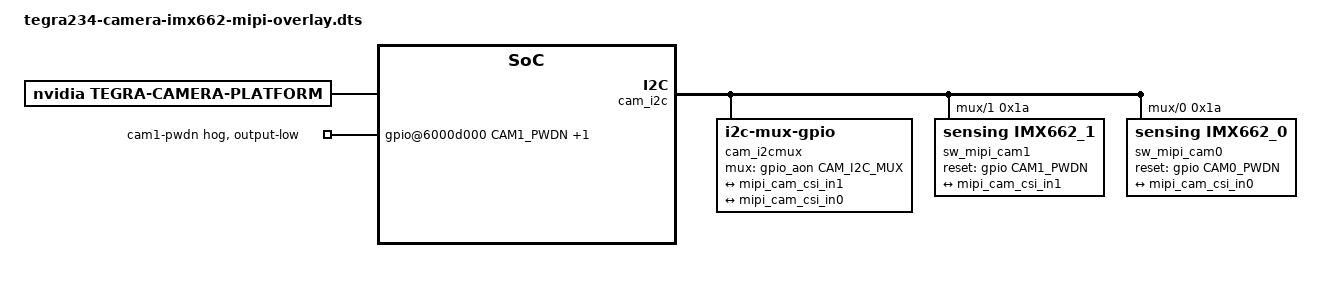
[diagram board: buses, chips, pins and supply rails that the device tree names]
// SPDX-License-Identifier: GPL-2.0-only
// SPDX-FileCopyrightText: Copyright (c) 2023-2024, NVIDIA CORPORATION & AFFILIATES. All rights reserved.

/dts-v1/;
/plugin/;

#define CAM0_PWDN	TEGRA234_MAIN_GPIO(H, 6)
#define CAM1_PWDN	TEGRA234_MAIN_GPIO(AC, 0)
#define CAM_I2C_MUX 	TEGRA234_AON_GPIO(CC, 3)

#include <dt-bindings/tegra234-p3767-0000-common.h>

/ {
	overlay-name = "Camera SG2-MIPI-IMX662";
	jetson-header-name = "Jetson 24pin CSI Connector";
	compatible = JETSON_COMPATIBLE_P3768;
	/* SG2-MIPI-IMX662 connected to cam1 port */

	fragment@0 {
		target-path = "/";
		__overlay__ {
			tegra-capture-vi  {
				num-channels = <2>;
				ports {
					#address-cells = <1>;
					#size-cells = <0>;
					port@0 {
						reg = <0>;
						mipi_cam_vi_in0: endpoint {
							port-index = <1>;
							bus-width = <2>;
							remote-endpoint = <&mipi_cam_csi_out0>;
						};
					};
					port@1 {
						reg = <1>;
						mipi_cam_vi_in1: endpoint {
							port-index = <2>;
							bus-width = <4>;
							remote-endpoint = <&mipi_cam_csi_out1>;
						};
					};
				};
			};
			tegra-camera-platform {
				compatible = "nvidia, tegra-camera-platform";

				/**
				* Physical settings to calculate max ISO BW
				*
				* num_csi_lanes = <>;
				* Total number of CSI lanes when all cameras are active
				*
				* max_lane_speed = <>;
				* Max lane speed in Kbit/s
				*
				* min_bits_per_pixel = <>;
				* Min bits per pixel
				*
				* vi_peak_byte_per_pixel = <>;
				* Max byte per pixel for the VI ISO case
				*
				* vi_bw_margin_pct = <>;
				* Vi bandwidth margin in percentage
				*
				* max_pixel_rate = <>;
				* Max pixel rate in Kpixel/s for the ISP ISO case
				*
				* isp_peak_byte_per_pixel = <>;
				* Max byte per pixel for the ISP ISO case
				*
				* isp_bw_margin_pct = <>;
				* Isp bandwidth margin in percentage
				*/
				num_csi_lanes = <4>;
				max_lane_speed = <1500000>;
				min_bits_per_pixel = <10>;
				vi_peak_byte_per_pixel = <2>;
				vi_bw_margin_pct = <25>;
				max_pixel_rate = <7500000>;
				isp_peak_byte_per_pixel = <5>;
				isp_bw_margin_pct = <25>;

				/**
				 * The general guideline for naming badge_info contains 3 parts, and is as follows,
				 * The first part is the camera_board_id for the module; if the module is in a FFD
				 * platform, then use the platform name for this part.
				 * The second part contains the position of the module, ex. "rear" or "front".
				 * The third part contains the last 6 characters of a part number which is found
				 * in the module's specsheet from the vendor.
				 */
				modules {
					module0 {
						badge = "sgx_front_imx662";
						position = "front";
						orientation = "1";
						drivernode0 {
							pcl_id = "v4l2_sensor";
							sysfs-device-tree = "/sys/firmware/devicetree/base/bus@0/cam_i2cmux/i2c@1/cam_0@1a";
						};
					};
					module1 {
						badge = "sgx_rear_imx662";
						position = "rear";
						orientation = "1";
						drivernode0 {
							pcl_id = "v4l2_sensor";
							sysfs-device-tree = "/sys/firmware/devicetree/base/bus@0/cam_i2cmux/i2c@0/cam_1@1a";
						};
					};
				};
			};
			bus@0 {
				host1x@13e00000 {
					nvcsi@15a00000 {
						num-channels = <2>;
						#address-cells = <1>;
						#size-cells = <0>;
						channel@0 {
							reg = <0>;
							ports {
								#address-cells = <1>;
								#size-cells = <0>;
								port@0 {
									reg = <0>;
									mipi_cam_csi_in0: endpoint@0 {
										port-index = <1>;
										bus-width = <2>;
										remote-endpoint = <&mipi_cam_out0>;
									};
								};
								port@1 {
									reg = <1>;
									mipi_cam_csi_out0: endpoint@1 {
										remote-endpoint = <&mipi_cam_vi_in0>;
									};
								};
							};
						};
						channel@1 {
							reg = <1>;
							ports {
								#address-cells = <1>;
								#size-cells = <0>;
								port@0 {
									reg = <0>;
									mipi_cam_csi_in1: endpoint@2 {
										port-index = <2>;
										bus-width = <4>;
										remote-endpoint = <&mipi_cam_out1>;
									};
								};
								port@1 {
									reg = <1>;
									mipi_cam_csi_out1: endpoint@3 {
										remote-endpoint = <&mipi_cam_vi_in1>;
									};
								};
							};
						};
					};
				};
				cam_i2cmux {
					status = "okay";
					compatible = "i2c-mux-gpio";
					#address-cells = <1>;
					#size-cells = <0>;
					mux-gpios = <&gpio_aon CAM_I2C_MUX GPIO_ACTIVE_HIGH>;
					i2c-parent = <&cam_i2c>;
					i2c@0 {
						status = "okay";
						reg = <1>;
						#address-cells = <1>;
						#size-cells = <0>;
						rbpcv2_imx219_c@10 {
							status = "disabled";
						};
						sw_mipi_cam1: cam_1@1a {
							compatible = "sensing,imx662_1";
							/* I2C device address */
							reg = <0x1a>;

							/* V4L2 device node location */
							devnode = "video0";

							/* Physical dimensions of sensor */
							physical_w = "3.680";
							physical_h = "2.760";

							sensor_model = "imx662";				
							
							/* Defines number of frames to be dropped by driver internally after applying */
							/* sensor crop settings. Some sensors send corrupt frames after applying */
							/* crop co-ordinates */
							post_crop_frame_drop = "0";

							/* Convert Gain to unit of dB (decibel) befor passing to kernel driver */
							use_decibel_gain = "true";

							/* if true, delay gain setting by one frame to be in sync with exposure */
							delayed_gain = "true";

							/* enable CID_SENSOR_MODE_ID for sensor modes selection */

							use_sensor_mode_id = "true";

							reset-gpios = <&gpio CAM1_PWDN GPIO_ACTIVE_HIGH>;

							mode0 { /* sensor_mode_1936x1100_4lane_raw12_linear_30fps */
								mclk_khz = "24000";
								num_lanes = "4";
								tegra_sinterface = "serial_c";
								phy_mode = "DPHY";
								discontinuous_clk = "no";
								dpcm_enable = "false";
								cil_settletime = "0";
								lane_polarity = "0";

								active_w = "1936";
								active_h = "1100";
								mode_type = "bayer";
								pixel_phase = "rggb";
								csi_pixel_bit_depth = "12";
								dynamic_pixel_bit_depth = "12";
								readout_orientation = "0";
								line_length = "1936";
								inherent_gain = "1";
								mclk_multiplier = "8.2";
								pix_clk_hz = "198000000";

								gain_factor = "1000";
								min_gain_val = "1"; 		/* 0 dB */
								max_gain_val = "72000"; 		/* 72 dB */
								step_gain_val = "300"; 		/* 0.3 */
								default_gain = "1";
								min_hdr_ratio = "1";
								max_hdr_ratio = "1";
								framerate_factor = "1000000";
								min_framerate = "30000000";
								max_framerate = "30000000";
								step_framerate = "1";
								default_framerate = "30000000";
								exposure_factor = "1000000";
								min_exp_time = "27"; 		/*us, VMAX - (max number of lines per frame - 1)*/
								max_exp_time = "30000";		/*us, VMAX - 4 lines*/
								step_exp_time = "1";
								default_exp_time = "30000";	/* us */
								embedded_metadata_height = "1";
							};

							mode1 { /* sensor_mode_968x550_4lane_raw12_linear_30fps */
								mclk_khz = "24000";
								num_lanes = "4";
								tegra_sinterface = "serial_c";
								phy_mode = "DPHY";
								discontinuous_clk = "no";
								dpcm_enable = "false";
								cil_settletime = "0";
								lane_polarity = "0";

								active_w = "968";
								active_h = "550";
								mode_type = "bayer";
								pixel_phase = "rggb";
								csi_pixel_bit_depth = "12";
								dynamic_pixel_bit_depth = "12";
								readout_orientation = "0";
								line_length = "968";
								inherent_gain = "1";
								mclk_multiplier = "8.2";
								pix_clk_hz = "198000000";

								gain_factor = "1000";
								min_gain_val = "1"; 		/* 0 dB */
								max_gain_val = "72000"; 		/* 72 dB */
								step_gain_val = "300"; 		/* 0.3 */
								default_gain = "1";
								min_hdr_ratio = "1";
								max_hdr_ratio = "1";
								framerate_factor = "1000000";
								min_framerate = "30000000";
								max_framerate = "30000000";
								step_framerate = "1";
								default_framerate = "30000000";
								exposure_factor = "1000000";
								min_exp_time = "27"; 		/*us, VMAX - (max number of lines per frame - 1)*/
								max_exp_time = "30000";		/*us, VMAX - 4 lines*/
								step_exp_time = "1";
								default_exp_time = "30000";	/* us */
								embedded_metadata_height = "1";
							};

							mode2 { /* sensor_mode_1920x1080_4lane_raw10_dol2_30fps */
								mclk_khz = "24000";
								num_lanes = "4";
								tegra_sinterface = "serial_c";
								phy_mode = "DPHY";
								discontinuous_clk = "yes";
								dpcm_enable = "false";
								cil_settletime = "0";
								lane_polarity = "0";

								active_w = "1952";
								active_h = "2364";
								mode_type = "bayer_wdr_dol";
								pixel_phase = "rggb";
								csi_pixel_bit_depth = "10";
								dynamic_pixel_bit_depth = "10";
								readout_orientation = "0";
								line_length = "2616";
								inherent_gain = "1";
								mclk_multiplier = "25";
								pix_clk_hz = "288000000";

								gain_factor = "1000";
								min_gain_val = "1"; 		/* 0 dB */
								max_gain_val = "72000"; 	/* dB */
								step_gain_val = "300"; 		/* 0.3 */
								default_gain = "1";
								min_hdr_ratio = "32";
								max_hdr_ratio = "32";
								framerate_factor = "1000000";
								min_framerate = "30000000";
								max_framerate = "30000000";
								step_framerate = "1";
								default_framerate = "30000000";
								exposure_factor = "1000000";
								min_exp_time = "18"; 		/*us, 2 lines */
								max_exp_time = "30000";		/*us, VMAX * 2 - 14 lines*/
								step_exp_time = "1";
								default_exp_time = "30000";/* us */
								embedded_metadata_height = "1";
								
								// /* WDR related settings */
								num_of_exposure = "2";
								num_of_ignored_lines = "24"; 
								num_of_lines_offset_0 = "78";
								num_of_ignored_pixels = "16";
								num_of_left_margin_pixels = "8";
								num_of_right_margin_pixels = "8";
							};

							mode3 { /* sensor_mode_1936x1100_4lane_raw12_linear_60fps */
								mclk_khz = "24000";
								num_lanes = "4";
								tegra_sinterface = "serial_c";
								phy_mode = "DPHY";
								discontinuous_clk = "no";
								dpcm_enable = "false";
								cil_settletime = "0";
								lane_polarity = "0";

								active_w = "1936";
								active_h = "1100";		//1096
								mode_type = "bayer";
								pixel_phase = "rggb";
								csi_pixel_bit_depth = "12";
								dynamic_pixel_bit_depth = "12";
								readout_orientation = "0";
								line_length = "1936";
								inherent_gain = "1";
								mclk_multiplier = "8.2";
								pix_clk_hz = "198000000";

								gain_factor = "1000";
								min_gain_val = "1"; 		/* 0 dB */
								max_gain_val = "72000"; 		/* 72 dB */
								step_gain_val = "300"; 		/* 0.3 */
								default_gain = "1";
								min_hdr_ratio = "1";
								max_hdr_ratio = "1";
								framerate_factor = "1000000";
								min_framerate = "60000000";
								max_framerate = "60000000";
								step_framerate = "1";
								default_framerate = "60000000";
								exposure_factor = "1000000";
								min_exp_time = "14"; 		/*us, VMAX - (max number of lines per frame - 1)*/
								max_exp_time = "16000";		/*us, VMAX - 4 lines*/
								step_exp_time = "1";
								default_exp_time = "16000";	/* us */
								embedded_metadata_height = "1";

								num_of_left_margin_pixels = "8";
								num_of_right_margin_pixels = "8";
							};

							mode4 { /* sensor_mode_968x550_4lane_raw12_linear_60fps */
								mclk_khz = "24000";
								num_lanes = "4";
								tegra_sinterface = "serial_c";
								phy_mode = "DPHY";
								discontinuous_clk = "no";
								dpcm_enable = "false";
								cil_settletime = "0";
								lane_polarity = "0";

								active_w = "968";
								active_h = "550";
								mode_type = "bayer";
								pixel_phase = "rggb";
								csi_pixel_bit_depth = "12";
								dynamic_pixel_bit_depth = "12";
								readout_orientation = "0";
								line_length = "968";
								inherent_gain = "1";
								mclk_multiplier = "8.2";
								pix_clk_hz = "198000000";

								gain_factor = "1000";
								min_gain_val = "1"; 		/* 0 dB */
								max_gain_val = "72000"; 		/* 72 dB */
								step_gain_val = "300"; 		/* 0.3 */
								default_gain = "1";
								min_hdr_ratio = "1";
								max_hdr_ratio = "1";
								framerate_factor = "1000000";
								min_framerate = "60000000";
								max_framerate = "60000000";
								step_framerate = "1";
								default_framerate = "60000000";
								exposure_factor = "1000000";
								min_exp_time = "14"; 		/*us, VMAX - (max number of lines per frame - 1)*/
								max_exp_time = "16000";		/*us, VMAX - 4 lines*/
								step_exp_time = "1";
								default_exp_time = "16000";	/* us */
								embedded_metadata_height = "1";
							};
							
							ports {
								#address-cells = <1>;
								#size-cells = <0>;

								port@0 {
									reg = <0>;
									mipi_cam_out1: endpoint {
										port-index = <2>;
										bus-width = <4>;
										remote-endpoint = <&mipi_cam_csi_in1>;
									};
								};
							};
						};
					};
					i2c@1 {
						status = "okay";
						reg = <0>;
						#address-cells = <1>;
						#size-cells = <0>;
						rbpcv2_imx219_a@10 {
							status = "disabled";
						};
						sw_mipi_cam0: cam_0@1a {
							compatible = "sensing,imx662_0";
							/* I2C device address */
							reg = <0x1a>;

							/* V4L2 device node location */
							devnode = "video1";

							/* Physical dimensions of sensor */
							physical_w = "3.680";
							physical_h = "2.760";

							sensor_model = "imx662";				
							
							/* Defines number of frames to be dropped by driver internally after applying */
							/* sensor crop settings. Some sensors send corrupt frames after applying */
							/* crop co-ordinates */
							post_crop_frame_drop = "0";

							/* Convert Gain to unit of dB (decibel) befor passing to kernel driver */
							use_decibel_gain = "true";

							/* if true, delay gain setting by one frame to be in sync with exposure */
							delayed_gain = "true";

							/* enable CID_SENSOR_MODE_ID for sensor modes selection */

							use_sensor_mode_id = "true";

							reset-gpios = <&gpio CAM0_PWDN GPIO_ACTIVE_HIGH>;

							/**
							* ==== Modes ====
							*/
							mode0 { /*  */
								mclk_khz = "24000";
								num_lanes = "2";
								tegra_sinterface = "serial_b";
								phy_mode = "DPHY";
								discontinuous_clk = "no";
								dpcm_enable = "false";
								cil_settletime = "0";
								lane_polarity = "0";

								active_w = "1936";
								active_h = "1096";
								mode_type = "bayer";
								pixel_phase = "rggb";
								csi_pixel_bit_depth = "12";
								dynamic_pixel_bit_depth = "12";
								readout_orientation = "0";
								line_length = "1936";
								inherent_gain = "1";
								mclk_multiplier = "8.2";//600000 Khz / 25 =24000 Khz
								pix_clk_hz = "198000000";

								gain_factor = "1000";
								min_gain_val = "1"; 		/* 0 dB */
								max_gain_val = "72000"; 		/* 72 dB */
								step_gain_val = "300"; 		/* 0.3 */
								default_gain = "1";
								min_hdr_ratio = "1";
								max_hdr_ratio = "1";
								framerate_factor = "1000000";
								min_framerate = "60000000";
								max_framerate = "60000000";
								step_framerate = "1";
								default_framerate = "60000000";
								exposure_factor = "1000000";
								min_exp_time = "54"; 		/*us, VMAX - (max number of lines per frame - 1)*/
								max_exp_time = "14600";		/*us, VMAX - 4 lines*/
								step_exp_time = "1";
								default_exp_time = "14600";	/* us */
								embedded_metadata_height = "1";
							};

							ports {
								#address-cells = <1>;
								#size-cells = <0>;

								port@0 {
									reg = <0>;
									mipi_cam_out0: endpoint {
										port-index = <1>;
										bus-width = <2>;
										remote-endpoint = <&mipi_cam_csi_in0>;
									};
								};
							};
						};
					};
				};
				gpio@6000d000 {
					camera-control-output-low {
						gpio-hog;
						output-low;
						gpios = <CAM1_PWDN 0  CAM0_PWDN 0>;
						label = "cam1-pwdn", "cam0-pwdn";
					};
				};
			};
		};
	};
};
